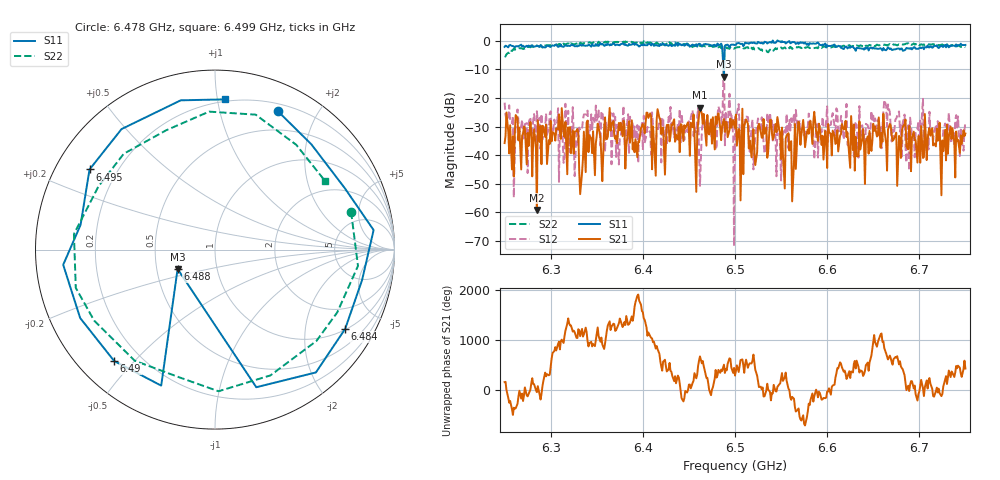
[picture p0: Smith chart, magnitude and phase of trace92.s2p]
# Hz S RI R 50
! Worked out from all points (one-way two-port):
!   401 points, 6.25 GHz to 6.75 GHz, reference 50 ohm
!   highest |S21| = -23.41 dB at 6.462 GHz (marker M1); lowest = -59.1 dB at 6.285 GHz (marker M2)
!   lowest |S11| = -12.6 dB at 6.488 GHz (marker M3), VSWR 1.61, Z = 32.1 - j7.33 ohm
!   |S11| at or under -10 dB: 6.487513 GHz to 6.48824 GHz (726.8 kHz wide, 0.0112 % of centre)
!   |S22| runs from -5.7 to -0.2 dB; largest |S21 - S12| = 0.69
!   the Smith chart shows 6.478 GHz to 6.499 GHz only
!   S11 on the Smith chart (normalised r, x): 6.478 GHz: 0.28, +1.52; 6.484 GHz: 1.03, -3.27; 6.488 GHz: 0.64, -0.15; 6.49 GHz: 0.11, -0.44; 6.495 GHz: 0.10, +0.29; 6.499 GHz: 0.19, +1.05
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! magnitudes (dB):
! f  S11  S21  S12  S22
! 6.25 GHz  -2.2  -35.8  -21.7  -5.7
! 6.259 GHz  -1.8  -33.4  -26.3  -3.2
! 6.285 GHz  -1.6  -59.1  -24.6  -1.9
! 6.31 GHz  -2.0  -31.7  -28.8  -1.2
! 6.334 GHz  -1.8  -46.2  -31.1  -1.1
! 6.341 GHz  -1.5  -38.9  -30.8  -0.7
! 6.418 GHz  -1.9  -27.1  -27.9  -1.4
! 6.462 GHz  -1.1  -23.4  -50.7  -1.8
! 6.478 GHz  -1.4  -38.0  -34.4  -2.1
! 6.484 GHz  -1.4  -30.6  -25.1  -2.1
! 6.488 GHz  -12.6  -27.4  -2.9  -2.1
! 6.49 GHz  -1.5  -28.4  -25.2  -2.0
! 6.495 GHz  -1.6  -27.2  -26.2  -2.3
! 6.499 GHz  -1.5  -29.4  -71.8  -2.8
! 6.5 GHz  -1.5  -30.5  -26.7  -2.6
! 6.502 GHz  -0.9  -36.7  -25.4  -2.3
! 6.538 GHz  -0.5  -27.8  -25.2  -3.1
! 6.548 GHz  -0.3  -31.1  -31.8  -2.9
! 6.561 GHz  -0.8  -35.1  -27.1  -2.5
! 6.584 GHz  -1.0  -36.1  -30.9  -2.4
! 6.668 GHz  -3.0  -29.1  -24.9  -1.2
! 6.75 GHz  -1.5  -32.4  -28.4  -2.3
